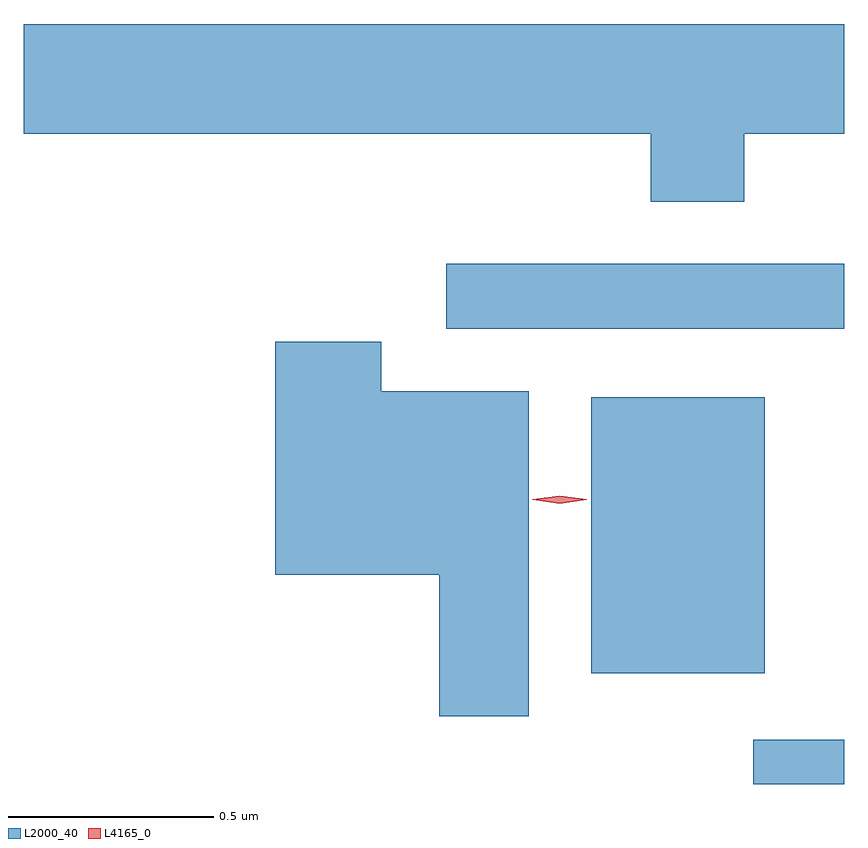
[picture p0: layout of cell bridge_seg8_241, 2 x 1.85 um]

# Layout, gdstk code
import gdstk
lib = gdstk.Library(unit=1e-6, precision=1e-09)
def R(c, l, rs):  # rectangles x0, y0, x1, y1
    for r in rs: c.add(gdstk.rectangle(r[:2], r[2:], *l))
def P(c, l, *ps):  # polygons
    for p in ps: c.add(gdstk.Polygon(p, *l))
L2000_40 = (2000, 40)
L4165_0 = (4165, 0)

bridge_seg8_241 = lib.new_cell('bridge_seg8_241')
R(bridge_seg8_241, L2000_40, [(1228.011,1857.031,1228.233,1857.139), (1227.616,1857.301,1228.039,1857.974), (1227.263,1858.141,1228.233,1858.299)])
P(bridge_seg8_241, L2000_40, [(1227.989,1858.616),(1228.233,1858.616),(1228.233,1858.884),(1226.233,1858.884),(1226.233,1858.616),(1227.761,1858.616),(1227.761,1858.451),(1227.989,1858.451)],
  [(1227.464,1857.989),(1227.104,1857.989),(1227.104,1858.109),(1226.846,1858.109),(1226.846,1857.541),(1227.246,1857.541),(1227.246,1857.196),(1227.464,1857.196)])
P(bridge_seg8_241, L4165_0, [(1227.54,1857.714),(1227.474,1857.724),(1227.473,1857.724),(1227.474,1857.725),(1227.54,1857.734),(1227.606,1857.725),(1227.606,1857.724),(1227.606,1857.724)])

lib.write_gds('bridge_seg8_241.gds')
